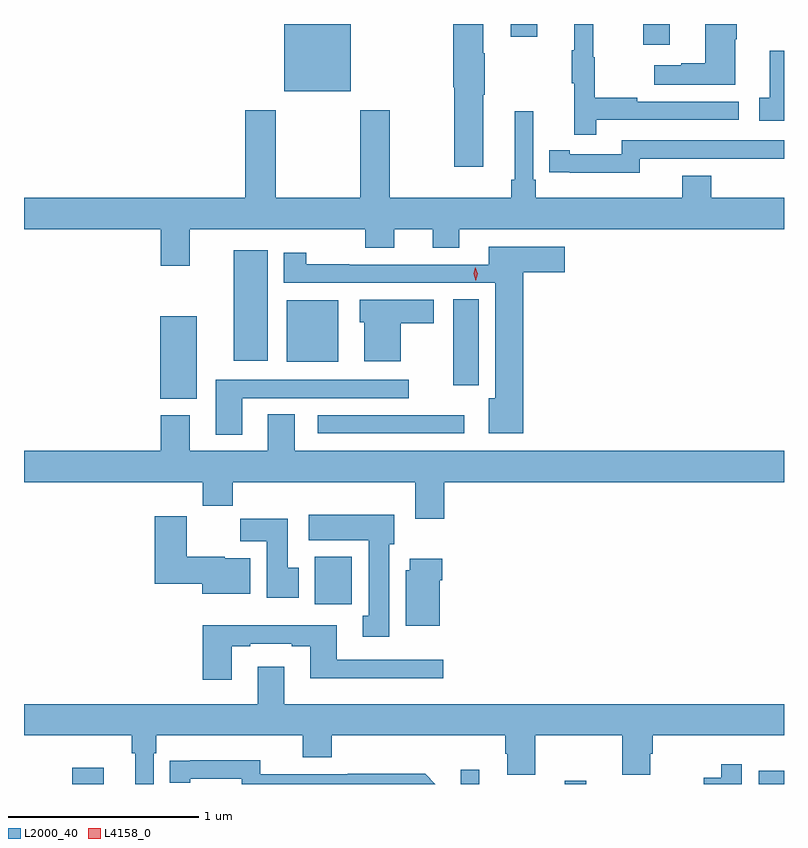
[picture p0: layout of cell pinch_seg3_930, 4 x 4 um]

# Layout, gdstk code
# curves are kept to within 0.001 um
import gdstk
lib = gdstk.Library(unit=1e-6, precision=1e-09)
def R(c, l, rs):  # rectangles x0, y0, x1, y1
    for r in rs: c.add(gdstk.rectangle(r[:2], r[2:], *l))
def P(c, l, *ps):  # polygons
    for p in ps: c.add(gdstk.Polygon(p, *l))
L2000_40 = (2000, 40)
L4158_0 = (4158, 0)

pinch_seg3_930 = lib.new_cell('pinch_seg3_930')
R(pinch_seg3_930, L2000_40, [(507.224,705.987,507.388,706.072), (509.268,705.987,509.365,706.063), (509.816,705.987,509.927,706.003), (510.837,705.987,510.969,706.056), (508.499,706.932,508.695,707.182), (508.515,707.832,509.287,707.928), (507.686,708.014,507.877,708.448), (509.228,708.087,509.362,708.539), (508.352,708.209,508.624,708.532), (508.073,708.215,508.252,708.796), (508.34,709.634,508.69,709.987), (510.227,709.878,510.367,709.987), (509.531,709.92,509.671,709.987)])
P(pinch_seg3_930, L2000_40, [(509.386,709.615),(509.394,709.615),(509.394,709.832),(509.386,709.832),(509.386,709.987),(509.228,709.987),(509.228,709.653),(509.233,709.653),(509.233,709.236),(509.386,709.236)],
  [(509.981,709.482),(510.73,709.482),(510.73,709.578),(510.197,709.578),(510.197,709.598),(509.974,709.598),(509.974,709.812),(509.966,709.812),(509.966,709.987),(509.864,709.987),(509.864,709.849),(509.853,709.849),(509.853,709.675),(509.864,709.675),(509.864,709.404),(509.981,709.404)],
  [(510.712,709.907),(510.72,709.907),(510.72,709.987),(510.554,709.987),(510.554,709.781),(510.428,709.781),(510.428,709.771),(510.285,709.771),(510.285,709.667),(510.712,709.667)],
  [(510.969,709.846),(510.893,709.846),(510.893,709.599),(510.84,709.599),(510.84,709.479),(510.969,709.479)],
  [(510.969,709.072),(510.587,709.072),(510.587,709.189),(510.434,709.189),(510.434,709.072),(509.663,709.072),(509.663,709.168),(509.649,709.168),(509.649,709.528),(509.552,709.528),(509.552,709.168),(509.533,709.168),(509.533,709.072),(508.893,709.072),(508.893,709.534),(508.738,709.534),(508.738,709.072),(508.293,709.072),(508.293,709.534),(508.133,709.534),(508.133,709.072),(506.969,709.072),(506.969,708.908),(507.689,708.908),(507.689,708.714),(507.841,708.714),(507.841,708.908),(508.766,708.908),(508.766,708.809),(508.918,708.809),(508.918,708.908),(509.12,708.908),(509.12,708.809),(509.26,708.809),(509.26,708.908),(510.969,708.908)],
  [(510.21,709.278),(510.67,709.278),(510.67,709.277),(510.969,709.277),(510.969,709.374),(510.114,709.374),(510.114,709.302),(509.842,709.302),(509.842,709.322),(509.734,709.322),(509.734,709.206),(509.842,709.206),(509.842,709.205),(510.21,709.205)],
  [(509.597,708.68),(509.815,708.68),(509.815,708.814),(509.414,708.814),(509.414,708.72),(508.682,708.72),(508.682,708.722),(508.455,708.722),(508.455,708.784),(508.337,708.784),(508.337,708.624),(509.45,708.624),(509.45,708.016),(509.414,708.016),(509.414,707.834),(509.597,707.834)],
  [(508.951,708.413),(509.125,708.413),(509.125,708.535),(508.736,708.535),(508.736,708.417),(508.76,708.417),(508.76,708.212),(508.951,708.212)],
  [(508.117,708.018),(508.993,708.018),(508.993,708.114),(507.977,708.114),(507.977,707.826),(508.117,707.826)],
  [(509.18,707.576),(510.969,707.576),(510.969,707.74),(508.393,707.74),(508.393,707.933),(508.253,707.933),(508.253,707.74),(507.841,707.74),(507.841,707.929),(507.689,707.929),(507.689,707.74),(506.969,707.74),(506.969,707.576),(507.911,707.576),(507.911,707.452),(508.067,707.452),(508.067,707.576),(509.027,707.576),(509.027,707.382),(509.18,707.382)],
  [(508.891,707.25),(508.918,707.25),(508.918,707.404),(508.467,707.404),(508.467,707.27),(508.784,707.27),(508.784,706.873),(508.751,706.873),(508.751,706.761),(508.891,706.761)],
  [(508.159,707.176),(508.026,707.176),(508.026,707.182),(507.826,707.182),(507.826,707.395),(507.656,707.395),(507.656,707.042),(507.908,707.042),(507.908,706.988),(508.159,706.988)],
  [(508.414,707.124),(508.357,707.124),(508.357,707.383),(508.108,707.383),(508.108,707.264),(508.247,707.264),(508.247,706.968),(508.414,706.968)],
  [(509.158,707.06),(509.171,707.06),(509.171,707.173),(509,707.173),(509,707.112),(508.979,707.112),(508.979,706.82),(509.158,706.82)],
  [(508.063,706.713),(508.159,706.713),(508.159,706.725),(508.379,706.725),(508.379,706.713),(508.475,706.713),(508.475,706.544),(509.176,706.544),(509.176,706.641),(508.615,706.641),(508.615,706.822),(507.911,706.822),(507.911,706.536),(508.063,706.536)],
  [(507.651,706.148),(507.665,706.148),(507.665,706.244),(508.436,706.244),(508.436,706.127),(508.589,706.127),(508.589,706.244),(509.501,706.244),(509.501,706.146),(509.513,706.146),(509.513,706.036),(509.661,706.036),(509.661,706.244),(510.118,706.244),(510.118,706.036),(510.265,706.036),(510.265,706.146),(510.278,706.146),(510.278,706.244),(510.969,706.244),(510.969,706.408),(508.339,706.408),(508.339,706.603),(508.199,706.603),(508.199,706.408),(506.969,706.408),(506.969,706.244),(507.535,706.244),(507.535,706.148),(507.554,706.148),(507.554,705.987),(507.651,705.987)],
  [(509.08,706.04),(508.672,706.04),(508.672,706.038),(508.212,706.038),(508.212,706.111),(507.736,706.11),(507.736,705.994),(507.844,705.994),(507.844,706.014),(508.116,706.014),(508.116,705.987),(509.133,705.987)],
  [(510.747,706.09),(510.639,706.09),(510.639,706.02),(510.546,706.02),(510.546,705.987),(510.747,705.987)])
P(pinch_seg3_930, L4158_0, [(509.347,708.637),(509.347,708.637),(509.336,708.672),(509.344,708.708),(509.345,708.708),(509.345,708.708),(509.356,708.673),(509.347,708.637)])

lib.write_gds('pinch_seg3_930.gds')
